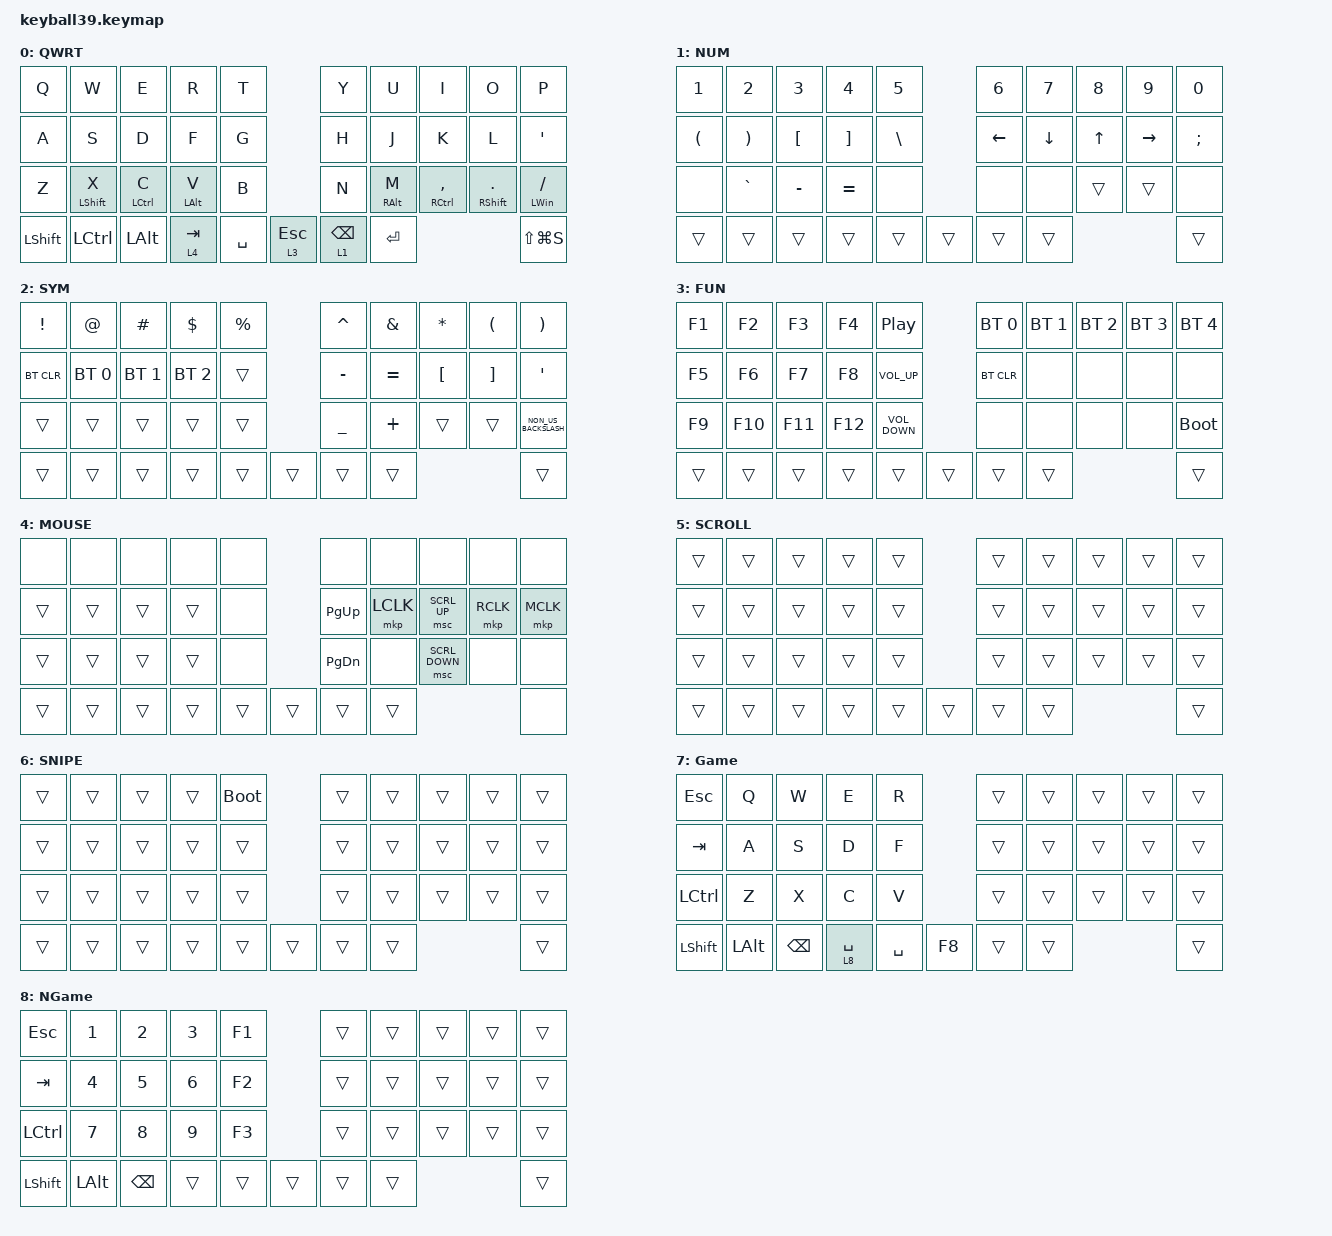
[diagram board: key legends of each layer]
#define DEFAULT 0
#define NUM     1
#define SYM     2
#define FUN     3
#define MOUSE   4
#define SCROLL  5
#define SNIPE   6

#include <behaviors.dtsi>
#include <dt-bindings/zmk/bt.h>
#include <dt-bindings/zmk/keys.h>
#include <dt-bindings/zmk/pointing.h>

&lt {
    tapping-term-ms = <240>;
    flavor = "balanced";
    quick-tap-ms = <150>;
};

&mt {
    tapping-term-ms = <200>;
    flavor = "tap-preferred";
    quick-tap-ms = <150>;
};

&caps_word { continue-list = <UNDERSCORE MINUS>; };

/ {
    // custom shift using mod-morph

    behaviors {
        cmqus: comma_question {
            compatible = "zmk,behavior-mod-morph";
            #binding-cells = <0>;
            bindings = <&kp COMMA>, <&kp QUESTION>;

            mods = <(MOD_LSFT|MOD_RSFT)>;
        };

        dtsmi: dot_semi {
            compatible = "zmk,behavior-mod-morph";
            #binding-cells = <0>;
            bindings = <&kp DOT>, <&kp SEMI>;

            mods = <(MOD_LSFT|MOD_RSFT)>;
        };
    };

    macros {
        Hiragana: Hiragana {
            compatible = "zmk,behavior-macro";
            #binding-cells = <0>;
            bindings = <&kp LC(SPACE)>;
        };
    };

    combos {
        compatible = "zmk,combos";

        minus {
            bindings = <&kp MINUS>;
            key-positions = <17 16>;
        };

        equal {
            bindings = <&kp EQUAL>;
            key-positions = <17 18>;
        };

        gamemod {
            bindings = <&tog 7>;
            key-positions = <0 30 33>;
        };

        normod {
            bindings = <&tog 0>;
            key-positions = <35 0 4 2>;
        };
    };

    keymap {
        compatible = "zmk,keymap";

        default_layer {
            display-name = "QWRT";
            bindings = <
&kp Q           &kp W             &kp E         &kp R           &kp T                                  &kp Y      &kp U            &kp I            &kp O           &kp P
&kp A           &kp S             &kp D         &kp F           &kp G                                  &kp H      &kp J            &kp K            &kp L           &kp SQT
&kp Z           &mt LEFT_SHIFT X  &mt LCTRL C   &mt LEFT_ALT V  &kp B                                  &kp N      &mt RIGHT_ALT M  &mt RCTRL COMMA  &mt RSHIFT DOT  &mt LEFT_WIN SLASH
&kp LEFT_SHIFT  &kp LCTRL         &kp LEFT_ALT  &lt 4 TAB       &kp SPACE  &lt 3 ESC  &lt 1 BACKSPACE  &kp ENTER                                                    &kp LS(LG(S))
            >;
        };

        number_layer {
            display-name = "NUM";
            bindings = <
&kp NUMBER_1          &kp NUMBER_2           &kp NUMBER_3      &kp NUMBER_4       &kp NUMBER_5                   &kp NUMBER_6  &kp NUMBER_7    &kp NUMBER_8  &kp NUMBER_9  &kp NUMBER_0
&kp LEFT_PARENTHESIS  &kp RIGHT_PARENTHESIS  &kp LEFT_BRACKET  &kp RIGHT_BRACKET  &kp BACKSLASH                  &kp LEFT      &kp DOWN_ARROW  &kp UP_ARROW  &kp RIGHT     &kp SEMI
&none                 &kp GRAVE              &kp MINUS         &kp EQUAL          &none                          &none         &none           &trans        &trans        &none
&trans                &trans                 &trans            &trans             &trans         &trans  &trans  &trans                                                    &trans
            >;
        };

        symbol_layer {
            display-name = "SYM";
            bindings = <
&kp EXCLAMATION  &kp AT_SIGN   &kp HASH      &kp DOLLAR    &kp PERCENT                  &kp CARET       &kp AMPERSAND  &kp ASTERISK      &kp LEFT_PARENTHESIS  &kp RIGHT_PARENTHESIS
&bt BT_CLR       &bt BT_SEL 0  &bt BT_SEL 1  &bt BT_SEL 2  &trans                       &kp MINUS       &kp EQUAL      &kp LEFT_BRACKET  &kp RIGHT_BRACKET     &kp SQT
&trans           &trans        &trans        &trans        &trans                       &kp UNDERSCORE  &kp PLUS       &trans            &trans                &kp NON_US_BACKSLASH
&trans           &trans        &trans        &trans        &trans       &trans  &trans  &trans                                                                 &trans
            >;
        };

        function_layer {
            display-name = "FUN";
            bindings = <
&kp F1  &kp F2   &kp F3   &kp F4   &kp C_PLAY_PAUSE                   &bt BT_SEL 0  &bt BT_SEL 1  &bt BT_SEL 2  &bt BT_SEL 3  &bt BT_SEL 4
&kp F5  &kp F6   &kp F7   &kp F8   &kp C_VOLUME_UP                    &bt BT_CLR    &none         &none         &none         &none
&kp F9  &kp F10  &kp F11  &kp F12  &kp C_VOLUME_DOWN                  &none         &none         &none         &none         &bootloader
&trans  &trans   &trans   &trans   &trans             &trans  &trans  &trans                                                  &trans
            >;
        };

        mouse_layer {
            display-name = "MOUSE";
            bindings = <
&none   &none   &none   &none   &none                   &none          &none      &none           &none      &none
&trans  &trans  &trans  &trans  &none                   &kp PAGE_UP    &mkp LCLK  &msc SCRL_UP    &mkp RCLK  &mkp MCLK
&trans  &trans  &trans  &trans  &none                   &kp PAGE_DOWN  &none      &msc SCRL_DOWN  &none      &none
&trans  &trans  &trans  &trans  &trans  &trans  &trans  &trans                                               &none
            >;
        };

        scroll_layer {
            display-name = "SCROLL";
            bindings = <
&trans  &trans  &trans  &trans  &trans                  &trans  &trans  &trans  &trans  &trans
&trans  &trans  &trans  &trans  &trans                  &trans  &trans  &trans  &trans  &trans
&trans  &trans  &trans  &trans  &trans                  &trans  &trans  &trans  &trans  &trans
&trans  &trans  &trans  &trans  &trans  &trans  &trans  &trans                          &trans
            >;
        };

        snipe_layer {
            display-name = "SNIPE";
            bindings = <
&trans  &trans  &trans  &trans  &bootloader                  &trans  &trans  &trans  &trans  &trans
&trans  &trans  &trans  &trans  &trans                       &trans  &trans  &trans  &trans  &trans
&trans  &trans  &trans  &trans  &trans                       &trans  &trans  &trans  &trans  &trans
&trans  &trans  &trans  &trans  &trans       &trans  &trans  &trans                          &trans
            >;
        };

        Game {
            display-name = "Game";
            bindings = <
&kp ESC         &kp Q     &kp W     &kp E        &kp R                      &trans  &trans  &trans  &trans  &trans
&kp TAB         &kp A     &kp S     &kp D        &kp F                      &trans  &trans  &trans  &trans  &trans
&kp LCTRL       &kp Z     &kp X     &kp C        &kp V                      &trans  &trans  &trans  &trans  &trans
&kp LEFT_SHIFT  &kp LALT  &kp BSPC  &lt 8 SPACE  &kp SPACE  &kp F8  &trans  &trans                          &trans
            >;
        };

        NumGame {
            display-name = "NGame";
            bindings = <
&kp ESC    &kp N1    &kp N2    &kp N3  &kp F1                  &trans  &trans  &trans  &trans  &trans
&kp TAB    &kp N4    &kp N5    &kp N6  &kp F2                  &trans  &trans  &trans  &trans  &trans
&kp LCTRL  &kp N7    &kp N8    &kp N9  &kp F3                  &trans  &trans  &trans  &trans  &trans
&kp LSHFT  &kp LALT  &kp BSPC  &trans  &trans  &trans  &trans  &trans                          &trans
            >;
        };
    };
};
